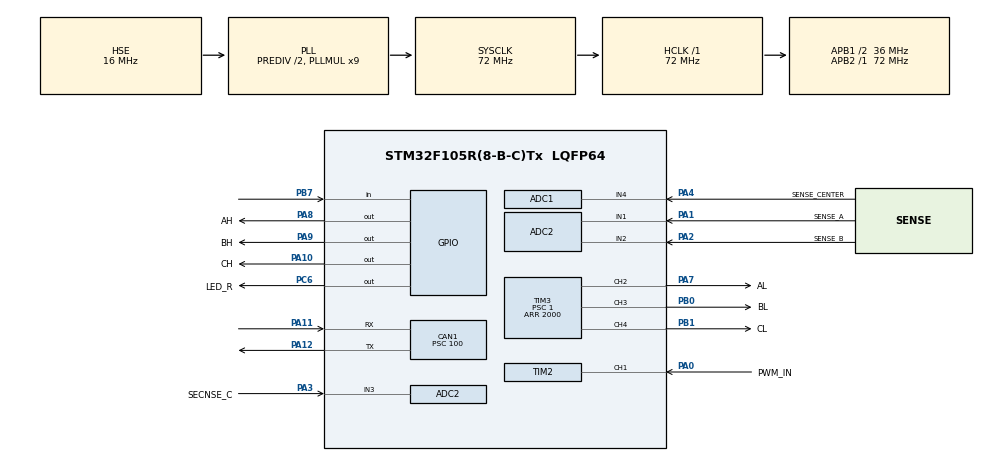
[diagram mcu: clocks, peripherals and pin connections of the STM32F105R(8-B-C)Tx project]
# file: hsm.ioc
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ADC1.Channel-11\#ChannelRegularConversion=ADC_CHANNEL_4
ADC1.ContinuousConvMode=ENABLE
ADC1.NbrOfConversion=1
ADC1.NbrOfConversionFlag=1
ADC1.Rank-11\#ChannelRegularConversion=1
ADC1.SamplingTime-11\#ChannelRegularConversion=ADC_SAMPLETIME_1CYCLE_5
ADC1.master=1
ADC2.Channel-5\#ChannelRegularConversion=ADC_CHANNEL_1
ADC2.NbrOfConversionFlag=1
ADC2.Rank-5\#ChannelRegularConversion=1
ADC2.SamplingTime-5\#ChannelRegularConversion=ADC_SAMPLETIME_1CYCLE_5
CAN1.BS1=CAN_BS1_6TQ
CAN1.BS2=CAN_BS2_8TQ
CAN1.CalculateTimeBit=41666
CAN1.CalculateTimeQuantum=2777.777777777778
CAN1.Mode=CAN_MODE_NORMAL
CAN1.Prescaler=100
Mcu.Family=STM32F1
Mcu.Name=STM32F105R(8-B-C)Tx
Mcu.Package=LQFP64
NVIC.CAN1_RX0_IRQn=true\:0\:0\:false\:false\:true
NVIC.CAN1_RX1_IRQn=true\:0\:0\:false\:false\:true
NVIC.CAN1_SCE_IRQn=true\:0\:0\:false\:false\:true
NVIC.CAN1_TX_IRQn=true\:0\:0\:false\:false\:true
NVIC.PriorityGroup=NVIC_PRIORITYGROUP_4
NVIC.TIM4_IRQn=true\:0\:0\:false\:false\:true
PA0-WKUP.GPIO_Label=PWM_IN
PA0-WKUP.Signal=S_TIM2_CH1_ETR
PA1.GPIO_Label=SENSE_A
PA1.Signal=ADCx_IN1
PA10.GPIO_Label=CH
PA10.GPIO_Speed=GPIO_SPEED_FREQ_HIGH
PA10.Signal=GPIO_Output
PA11.Mode=Master
PA11.Signal=CAN1_RX
PA12.Mode=Master
PA12.Signal=CAN1_TX
PA13.Mode=Serial_Wire
PA13.Signal=SYS_JTMS-SWDIO
PA14.Mode=Serial_Wire
PA14.Signal=SYS_JTCK-SWCLK
PA2.GPIO_Label=SENSE_B
PA2.Signal=ADCx_IN2
PA3.GPIO_Label=SECNSE_C
PA3.Signal=ADCx_IN3
PA4.GPIO_Label=SENSE_CENTER
PA4.Signal=ADCx_IN4
PA7.GPIO_Label=AL
PA7.Signal=S_TIM3_CH2
PA8.GPIO_Label=AH
PA8.GPIO_Speed=GPIO_SPEED_FREQ_HIGH
PA8.Signal=GPIO_Output
PA9.GPIO_Label=BH
PA9.GPIO_Speed=GPIO_SPEED_FREQ_HIGH
PA9.Signal=GPIO_Output
PB0.GPIO_Label=BL
PB0.Signal=S_TIM3_CH3
PB1.GPIO_Label=CL
PB1.Signal=S_TIM3_CH4
PB7.GPIO_PuPd=GPIO_PULLDOWN
PB7.Signal=GPIO_Input
PC6.GPIO_Label=LED_R
PC6.GPIO_Speed=GPIO_SPEED_FREQ_HIGH
PC6.PinState=GPIO_PIN_SET
PC6.Signal=GPIO_Output
PD0-OSC_IN.Mode=HSE-External-Oscillator
PD0-OSC_IN.Signal=RCC_OSC_IN
PD1-OSC_OUT.Mode=HSE-External-Oscillator
PD1-OSC_OUT.Signal=RCC_OSC_OUT
ProjectManager.HeapSize=0x200
ProjectManager.StackSize=0x400
ProjectManager.TargetToolchain=TrueSTUDIO
RCC.ADCPresc=RCC_ADCPCLK2_DIV6
RCC.AHBFreq_Value=72000000
RCC.APB1CLKDivider=RCC_HCLK_DIV2
RCC.APB1Freq_Value=36000000
RCC.APB1TimFreq_Value=72000000
RCC.APB2Freq_Value=72000000
RCC.APB2TimFreq_Value=72000000
RCC.HCLKFreq_Value=72000000
RCC.HSEDivPLL=RCC_HSE_PREDIV_DIV2
RCC.HSE_VALUE=16000000
RCC.HSIState=RCC_HSI_ON
RCC.PLLMUL=RCC_PLL_MUL9
RCC.PLLSourceVirtual=RCC_PLLSOURCE_HSE
RCC.SYSCLKFreq_VALUE=72000000
RCC.SYSCLKSource=RCC_SYSCLKSOURCE_PLLCLK
RCC.USBFreq_Value=48000000
RCC.VDD_VALUE=3.3
SH.ADCx_IN1.0=ADC2_IN1,IN1
SH.ADCx_IN2.0=ADC2_IN2,IN2
SH.ADCx_IN3.0=ADC2_IN3,IN3
SH.ADCx_IN4.0=ADC1_IN4,IN4
SH.S_TIM2_CH1_ETR.0=TIM2_CH1,Input_Capture1_from_TI1
SH.S_TIM2_CH1_ETR.1=TIM2_CH1,Input_Capture2_from_TI1
SH.S_TIM3_CH2.0=TIM3_CH2,PWM Generation2 CH2
SH.S_TIM3_CH3.0=TIM3_CH3,PWM Generation3 CH3
SH.S_TIM3_CH4.0=TIM3_CH4,PWM Generation4 CH4
TIM2.Channel-Input_Capture2_from_TI1=TIM_CHANNEL_2
TIM2.ICPolarity_CH2=TIM_INPUTCHANNELPOLARITY_FALLING
TIM2.Period=40000
TIM2.Prescaler=36
TIM3.Channel-PWM\ Generation2\ CH2=TIM_CHANNEL_2
TIM3.Channel-PWM\ Generation3\ CH3=TIM_CHANNEL_3
TIM3.Channel-PWM\ Generation4\ CH4=TIM_CHANNEL_4
TIM3.OCMode_PWM-PWM\ Generation4\ CH4=TIM_OCMODE_PWM1
TIM3.Period=2000
TIM3.Prescaler=1
TIM3.Pulse-Output\ Compare1\ No\ Output=500
TIM3.Pulse-PWM\ Generation2\ CH2=200
TIM3.Pulse-PWM\ Generation3\ CH3=200
TIM3.Pulse-PWM\ Generation4\ CH4=200
TIM4.Period=20000
TIM4.Prescaler=16
VP_TIM2_VS_ClockSourceINT.Mode=Internal
VP_TIM3_VS_ClockSourceINT.Mode=Internal
VP_TIM3_VS_no_output1.Mode=Output Compare1 No Output
VP_TIM4_VS_ClockSourceINT.Mode=Internal
board=hsm

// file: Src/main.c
/**
  ******************************************************************************
  * File Name          : main.c
  * Description        : Main program body
  ******************************************************************************
  *
  * COPYRIGHT(c) 2017 STMicroelectronics
  *
  * Redistribution and use in source and binary forms, with or without modification,
  * are permitted provided that the following conditions are met:
  *   1. Redistributions of source code must retain the above copyright notice,
  *      this list of conditions and the following disclaimer.
  *   2. Redistributions in binary form must reproduce the above copyright notice,
  *      this list of conditions and the following disclaimer in the documentation
  *      and/or other materials provided with the distribution.
  *   3. Neither the name of STMicroelectronics nor the names of its contributors
  *      may be used to endorse or promote products derived from this software
  *      without specific prior written permission.
  *
  * THIS SOFTWARE IS PROVIDED BY THE COPYRIGHT HOLDERS AND CONTRIBUTORS "AS IS"
  * AND ANY EXPRESS OR IMPLIED WARRANTIES, INCLUDING, BUT NOT LIMITED TO, THE
  * IMPLIED WARRANTIES OF MERCHANTABILITY AND FITNESS FOR A PARTICULAR PURPOSE ARE
  * DISCLAIMED. IN NO EVENT SHALL THE COPYRIGHT HOLDER OR CONTRIBUTORS BE LIABLE
  * FOR ANY DIRECT, INDIRECT, INCIDENTAL, SPECIAL, EXEMPLARY, OR CONSEQUENTIAL
  * DAMAGES (INCLUDING, BUT NOT LIMITED TO, PROCUREMENT OF SUBSTITUTE GOODS OR
  * SERVICES; LOSS OF USE, DATA, OR PROFITS; OR BUSINESS INTERRUPTION) HOWEVER
  * CAUSED AND ON ANY THEORY OF LIABILITY, WHETHER IN CONTRACT, STRICT LIABILITY,
  * OR TORT (INCLUDING NEGLIGENCE OR OTHERWISE) ARISING IN ANY WAY OUT OF THE USE
  * OF THIS SOFTWARE, EVEN IF ADVISED OF THE POSSIBILITY OF SUCH DAMAGE.
  *
  ******************************************************************************
  */
#include "main.h"
#include "stm32f1xx_hal.h"

ADC_HandleTypeDef hadc1;
ADC_HandleTypeDef hadc2;

CAN_HandleTypeDef hcan1;

TIM_HandleTypeDef htim2;
TIM_HandleTypeDef htim3;
TIM_HandleTypeDef htim4;

/* USER CODE BEGIN PV */
/* Private variables ---------------------------------------------------------*/

CAN_FilterConfTypeDef  sFilterConfig;

uint32_t a =0;
uint32_t b =0;
uint32_t c=0;

typedef struct{
float pwm;
float smooth;
float COUNT_TO_MKS;
long en;
}PWM_IN_Struct;
PWM_IN_Struct pwm_in;

float time=0;
float dt=0;
float f=2;
float f_inv = 0;
float f_inv_old=0;
#define POLES 11.0
#define STATES 6.0
int phase = 0;
int count = 0;
int ch = 3;

uint32_t analog;
float fpot=0;
uint32_t t0=0;
uint32_t n=0;
float fn0=0;//initial neutral
float fn=0;//neutral
float fadc=0;//phase value
uint32_t adc = 0;
float adc0=0;
uint32_t adc2 = 0;
uint32_t sm_adc = 0;
int ncount = 0;
ADC_ChannelConfTypeDef adc1ch[6];

uint32_t t4old = 0;
typedef struct{

	uint32_t adc;
	uint32_t neutral;
	uint32_t pot;
	uint32_t u_cur;

	float fpot;
	float current0;
	float current;

}ADC_Struct;
ADC_Struct ADC;

typedef struct{

 unsigned char RW;
 unsigned char Reg_Adress;
 unsigned char Data;
 unsigned char OK;

 unsigned char WHO_AM_I;

 unsigned char OUTX_L_XL;
 unsigned char OUTX_H_XL;
 unsigned char OUTY_L_XL;
 unsigned char OUTY_H_XL;
 unsigned char OUTZ_L_XL;
 unsigned char OUTZ_H_XL;

 short ax;
 short ay;
 short az;

}SPI_Struct;

SPI_Struct ACC;

typedef struct{

 uint8_t data[200];
 int count;
 char lock;

}TX_Struct;

TX_Struct TXBuf;
/* USER CODE END PV */

void SystemClock_Config(void);
void Error_Handler(void);
static void MX_GPIO_Init(void);
static void MX_TIM2_Init(void);
static void MX_TIM3_Init(void);
static void MX_TIM4_Init(void);
static void MX_ADC1_Init(void);
static void MX_ADC2_Init(void);
static void MX_CAN1_Init(void);

void HAL_TIM_MspPostInit(TIM_HandleTypeDef *htim);

/* USER CODE BEGIN PFP */
void init(void);
void PlaySound(float f_,int delay);

//ADC
void StartAnalogADC1( int ch );
int GetAnalogADC1( void );
void StartAnalogADC2( int ch );
int GetAnalogADC2( void );
int ReadAnalogADC1( int ch );
int ReadAnalogADC2( int ch );

//output control
void ResetControlLOW(void);
void ResetControlHIGH(void);
void SetControlHIGH(GPIO_PinState ah,GPIO_PinState al,GPIO_PinState bh,GPIO_PinState bl,GPIO_PinState ch,GPIO_PinState cl);
void SetControlLOW(GPIO_PinState ah,GPIO_PinState al,GPIO_PinState bh,GPIO_PinState bl,GPIO_PinState ch,GPIO_PinState cl);

void Accelerometer(unsigned char rw, unsigned char reg, unsigned char data_);
void UpdateFrequency(void);
void ResetControl(void);
void SetControl(GPIO_PinState ah,GPIO_PinState al,GPIO_PinState bh,GPIO_PinState bl,GPIO_PinState ch,GPIO_PinState cl);

/* Private function prototypes -----------------------------------------------*/

/* USER CODE END PFP */

/* USER CODE BEGIN 0 */
void HAL_TIM_PeriodElapsedCallback(TIM_HandleTypeDef *htim)
{
	/*if (htim->Instance==TIM3) //check if the interrupt comes from TIM3
	{
		switch(phase){
						case 0:SetControlLOW(0,0,1,0,0,1);break;
						case 1:SetControlLOW(0,1,1,0,0,0);break;
						case 2:SetControlLOW(0,1,0,0,1,0);break;
						case 3:SetControlLOW(0,0,0,1,1,0);break;
						case 4:SetControlLOW(1,0,0,1,0,0);break;
						case 5:SetControlLOW(1,0,0,0,0,1);break;
		}
	}*/
	if (htim->Instance==TIM4) //check if the interrupt comes from TIM3
	{
		count=-1;
		phase++;
		if(phase>=6)
			phase=0;
		switch(phase){
									case 0:SetControlHIGH(0,0,1,0,0,1);ch=2;break;
									case 1:SetControlHIGH(0,1,1,0,0,0);ch=1;break;
									case 2:SetControlHIGH(0,1,0,0,1,0);ch=0;break;
									case 3:SetControlHIGH(0,0,0,1,1,0);ch=2;break;
									case 4:SetControlHIGH(1,0,0,1,0,0);ch=1;break;
									case 5:SetControlHIGH(1,0,0,0,0,1);ch=0;break;
		}
		StartAnalogADC2(ch);
		count=0;
	}
}
/*void HAL_TIM_OC_DelayElapsedCallback(TIM_HandleTypeDef *htim){

	if (htim->Instance==TIM3) //check if the interrupt comes from TIM3
	{
		if(htim->Channel==HAL_TIM_ACTIVE_CHANNEL_1){
			ResetControlLOW();
		}
	}

}*/
void HAL_CAN_RxCpltCallback(CAN_HandleTypeDef *hcan1)
{
  if ((hcan1->pRxMsg->StdId == 0x321) && (hcan1->pRxMsg->IDE == CAN_ID_STD) && (hcan1->pRxMsg->DLC == 2))
  {
	  HAL_GPIO_TogglePin(LED_R_GPIO_Port, LED_R_Pin);
	  //LED_Display(CanHandle->pRxMsg->Data[0]);
    //ubKeyNumber = CanHandle->pRxMsg->Data[0];
  }

  /* Receive */
  if (HAL_CAN_Receive_IT(hcan1, CAN_FIFO0) != HAL_OK)
  {
    Error_Handler();
  }
}
/* USER CODE END 0 */

int main(void)
{

  /* MCU Configuration----------------------------------------------------------*/

  /* Reset of all peripherals, Initializes the Flash interface and the Systick. */
  HAL_Init();

  /* Configure the system clock */
  SystemClock_Config();

  /* Initialize all configured peripherals */
  MX_GPIO_Init();
  MX_TIM2_Init();
  MX_TIM3_Init();
  MX_TIM4_Init();
  MX_ADC1_Init();
  MX_ADC2_Init();
  MX_CAN1_Init();

  /* USER CODE BEGIN 2 */

  /*  static CanTxMsgTypeDef        TxMessage;
    static CanRxMsgTypeDef        RxMessage;

    hcan1.pTxMsg = &TxMessage;
    hcan1.pRxMsg = &RxMessage;

    //##-2- Configure the CAN Filter ###########################################
      sFilterConfig.FilterNumber = 0;
      sFilterConfig.FilterMode = CAN_FILTERMODE_IDMASK;
      sFilterConfig.FilterScale = CAN_FILTERSCALE_32BIT;
      sFilterConfig.FilterIdHigh = 0x0000;
      sFilterConfig.FilterIdLow = 0x0000;
      sFilterConfig.FilterMaskIdHigh = 0x0000;
      sFilterConfig.FilterMaskIdLow = 0x0000;
      sFilterConfig.FilterFIFOAssignment = 0;
      sFilterConfig.FilterActivation = ENABLE;
      sFilterConfig.BankNumber = 14;

      if (HAL_CAN_ConfigFilter(&hcan1, &sFilterConfig) != HAL_OK)
      {
        Error_Handler();
      }

      //##-3- Configure Transmission process #####################################
      hcan1.pTxMsg->StdId = 0x321;
      hcan1.pTxMsg->ExtId = 0x01;
      hcan1.pTxMsg->RTR = CAN_RTR_DATA;
      hcan1.pTxMsg->IDE = CAN_ID_STD;
      hcan1.pTxMsg->DLC = 2;

      if (HAL_CAN_Receive_IT(&hcan1, CAN_FIFO0) != HAL_OK)
        {
          Error_Handler();
        }*/

  init();

  f=1.1;
  f_inv =  1/(f*POLES*STATES);
  TIM4->ARR = (uint32_t)round(1280000.0*f_inv);
  //TIM3->CCR1 = 350;
  TIM3->CCR2 = TIM3->CCR3 = TIM3->CCR4 = 600;
  HAL_Delay(100);

  pwm_in.smooth = 0;
  /* USER CODE END 2 */

  /* Infinite loop */
  while(1){}
  while (1)
  {

  /* USER CODE BEGIN 3 */
	 // HAL_GPIO_TogglePin(LED_R_GPIO_Port, LED_R_Pin);
	 // hcan1.pTxMsg->Data[0] = 1;
	 // hcan1.pTxMsg->Data[1] = 2;

      /*##-3- Start the Transmission process ###############################*/
	  /*if (HAL_CAN_Receive_IT(&hcan1, CAN_FIFO0) != HAL_OK)
	    {
	      Error_Handler();
	    }*/

	  //HAL_CAN_Transmit(&hcan1, 50);
      //HAL_Delay(200);

	  uint32_t cnt = TIM4->CNT;
	  if(count>=0){
	 	 	count++;
	 	 	StartAnalogADC2(ch);
	 }
	  adc = GetAnalogADC2();
	  fadc = (float)adc;
	  if(count>=0 && fabs(f_inv_old - f_inv)<0.01 ){
	  	if( phase==0 || phase==2 || phase==4 )
	  		if(fadc<fn && cnt>0 ){
	  			f_inv = (f_inv*999.0+((float)(cnt))*1.4/1280000.0)/1000.0;
	  			TIM4->ARR = (uint32_t)round(1280000.0*f_inv);
	  			count=-1;
	  		}
	  	if( phase==1 || phase==3 || phase==5 )
	  		if(fadc>fn  && cnt>0 ){
	  			f_inv = (f_inv*999.0+((float)(cnt))*1.4/1280000.0)/1000.0;
	  			TIM4->ARR = (uint32_t)round(1280000.0*f_inv);
	  			count=-1;
	  		}
	  }
	  f_inv_old = f_inv;
	  //n  = ReadAnalogADC1(ch);//neutral
	  fn = ((float)HAL_ADC_GetValue(&hadc1) +fn*799.0)/800.0;

	  a = TIM2->CCR1;
	  b = TIM2->CCR2;
	  c= 0;//( TIM2->CCR2 - TIM2->CCR1 )/2;
	  if(b>a){
		  c=b-a;
	  }else{
		//  c=TIM2->ARR+b-a;
	  }
	  pwm_in.pwm = ((float)c)*pwm_in.COUNT_TO_MKS;
	  if(pwm_in.pwm<700 )
		 pwm_in.pwm=0;
	 if(pwm_in.pwm>2300)
		 pwm_in.pwm=2300;

	  if(pwm_in.pwm<700)
		  pwm_in.en=0;
	  else
		  pwm_in.en++;

	  if(pwm_in.pwm>=700)
		  pwm_in.smooth = (pwm_in.pwm + pwm_in.smooth*999.0)/1000.0;
	  if(pwm_in.en>100){
		  //HAL_GPIO_WritePin(LED_R_GPIO_Port, LED_R_Pin, GPIO_PIN_SET);
		  uint32_t c = 250 + round((pwm_in.smooth-700)/2);
		  if(c>1200)
			  c=1200;
		  TIM3->CCR2 = TIM3->CCR3 = TIM3->CCR4 = c;
	  }else{
		  //HAL_GPIO_WritePin(LED_R_GPIO_Port, LED_R_Pin, GPIO_PIN_RESET);

		  /*f=1.1;
		  f_inv =  1/(f*POLES*STATES);
		  TIM4->ARR = (uint32_t)round(1280000.0*f_inv);
		  TIM3->CCR2 = TIM3->CCR3 = TIM3->CCR4 = 250;*/
		  //HAL_Delay(100);
	  }
  }
  /* USER CODE END 3 */

}

/** System Clock Configuration
*/
void SystemClock_Config(void)
{

  RCC_OscInitTypeDef RCC_OscInitStruct;
  RCC_ClkInitTypeDef RCC_ClkInitStruct;
  RCC_PeriphCLKInitTypeDef PeriphClkInit;

    /**Initializes the CPU, AHB and APB busses clocks
    */
  RCC_OscInitStruct.OscillatorType = RCC_OSCILLATORTYPE_HSE;
  RCC_OscInitStruct.HSEState = RCC_HSE_ON;
  RCC_OscInitStruct.HSEPredivValue = RCC_HSE_PREDIV_DIV2;
  RCC_OscInitStruct.HSIState = RCC_HSI_ON;
  RCC_OscInitStruct.Prediv1Source = RCC_PREDIV1_SOURCE_HSE;
  RCC_OscInitStruct.PLL.PLLState = RCC_PLL_ON;
  RCC_OscInitStruct.PLL.PLLSource = RCC_PLLSOURCE_HSE;
  RCC_OscInitStruct.PLL.PLLMUL = RCC_PLL_MUL9;
  RCC_OscInitStruct.PLL2.PLL2State = RCC_PLL_NONE;
  if (HAL_RCC_OscConfig(&RCC_OscInitStruct) != HAL_OK)
  {
    Error_Handler();
  }

    /**Initializes the CPU, AHB and APB busses clocks
    */
  RCC_ClkInitStruct.ClockType = RCC_CLOCKTYPE_HCLK|RCC_CLOCKTYPE_SYSCLK
                              |RCC_CLOCKTYPE_PCLK1|RCC_CLOCKTYPE_PCLK2;
  RCC_ClkInitStruct.SYSCLKSource = RCC_SYSCLKSOURCE_PLLCLK;
  RCC_ClkInitStruct.AHBCLKDivider = RCC_SYSCLK_DIV1;
  RCC_ClkInitStruct.APB1CLKDivider = RCC_HCLK_DIV2;
  RCC_ClkInitStruct.APB2CLKDivider = RCC_HCLK_DIV1;

  if (HAL_RCC_ClockConfig(&RCC_ClkInitStruct, FLASH_LATENCY_2) != HAL_OK)
  {
    Error_Handler();
  }

  PeriphClkInit.PeriphClockSelection = RCC_PERIPHCLK_ADC;
  PeriphClkInit.AdcClockSelection = RCC_ADCPCLK2_DIV6;
  if (HAL_RCCEx_PeriphCLKConfig(&PeriphClkInit) != HAL_OK)
  {
    Error_Handler();
  }

    /**Configure the Systick interrupt time
    */
  HAL_SYSTICK_Config(HAL_RCC_GetHCLKFreq()/1000);

    /**Configure the Systick
    */
  HAL_SYSTICK_CLKSourceConfig(SYSTICK_CLKSOURCE_HCLK);

    /**Configure the Systick interrupt time
    */
  __HAL_RCC_PLLI2S_ENABLE();

  /* SysTick_IRQn interrupt configuration */
  HAL_NVIC_SetPriority(SysTick_IRQn, 0, 0);
}

/* ADC1 init function */
static void MX_ADC1_Init(void)
{

  ADC_ChannelConfTypeDef sConfig;

    /**Common config
    */
  hadc1.Instance = ADC1;
  hadc1.Init.ScanConvMode = ADC_SCAN_DISABLE;
  hadc1.Init.ContinuousConvMode = ENABLE;
  hadc1.Init.DiscontinuousConvMode = DISABLE;
  hadc1.Init.ExternalTrigConv = ADC_SOFTWARE_START;
  hadc1.Init.DataAlign = ADC_DATAALIGN_RIGHT;
  hadc1.Init.NbrOfConversion = 1;
  if (HAL_ADC_Init(&hadc1) != HAL_OK)
  {
    Error_Handler();
  }

    /**Configure Regular Channel
    */
  sConfig.Channel = ADC_CHANNEL_4;
  sConfig.Rank = 1;
  sConfig.SamplingTime = ADC_SAMPLETIME_1CYCLE_5;
  if (HAL_ADC_ConfigChannel(&hadc1, &sConfig) != HAL_OK)
  {
    Error_Handler();
  }

}

/* ADC2 init function */
static void MX_ADC2_Init(void)
{

  ADC_ChannelConfTypeDef sConfig;

    /**Common config
    */
  hadc2.Instance = ADC2;
  hadc2.Init.ScanConvMode = ADC_SCAN_DISABLE;
  hadc2.Init.ContinuousConvMode = DISABLE;
  hadc2.Init.DiscontinuousConvMode = DISABLE;
  hadc2.Init.ExternalTrigConv = ADC_SOFTWARE_START;
  hadc2.Init.DataAlign = ADC_DATAALIGN_RIGHT;
  hadc2.Init.NbrOfConversion = 1;
  if (HAL_ADC_Init(&hadc2) != HAL_OK)
  {
    Error_Handler();
  }

    /**Configure Regular Channel
    */
  sConfig.Channel = ADC_CHANNEL_1;
  sConfig.Rank = 1;
  sConfig.SamplingTime = ADC_SAMPLETIME_1CYCLE_5;
  if (HAL_ADC_ConfigChannel(&hadc2, &sConfig) != HAL_OK)
  {
    Error_Handler();
  }

}

/* CAN1 init function */
static void MX_CAN1_Init(void)
{

  hcan1.Instance = CAN1;
  hcan1.Init.Prescaler = 100;
  hcan1.Init.Mode = CAN_MODE_NORMAL;
  hcan1.Init.SJW = CAN_SJW_1TQ;
  hcan1.Init.BS1 = CAN_BS1_6TQ;
  hcan1.Init.BS2 = CAN_BS2_8TQ;
  hcan1.Init.TTCM = DISABLE;
  hcan1.Init.ABOM = DISABLE;
  hcan1.Init.AWUM = DISABLE;
  hcan1.Init.NART = DISABLE;
  hcan1.Init.RFLM = DISABLE;
  hcan1.Init.TXFP = DISABLE;
  if (HAL_CAN_Init(&hcan1) != HAL_OK)
  {
    Error_Handler();
  }

}

/* TIM2 init function */
static void MX_TIM2_Init(void)
{

  TIM_ClockConfigTypeDef sClockSourceConfig;
  TIM_MasterConfigTypeDef sMasterConfig;
  TIM_IC_InitTypeDef sConfigIC;

  htim2.Instance = TIM2;
  htim2.Init.Prescaler = 36;
  htim2.Init.CounterMode = TIM_COUNTERMODE_UP;
  htim2.Init.Period = 40000;
  htim2.Init.ClockDivision = TIM_CLOCKDIVISION_DIV1;
  if (HAL_TIM_Base_Init(&htim2) != HAL_OK)
  {
    Error_Handler();
  }

  sClockSourceConfig.ClockSource = TIM_CLOCKSOURCE_INTERNAL;
  if (HAL_TIM_ConfigClockSource(&htim2, &sClockSourceConfig) != HAL_OK)
  {
    Error_Handler();
  }

  if (HAL_TIM_IC_Init(&htim2) != HAL_OK)
  {
    Error_Handler();
  }

  sMasterConfig.MasterOutputTrigger = TIM_TRGO_RESET;
  sMasterConfig.MasterSlaveMode = TIM_MASTERSLAVEMODE_DISABLE;
  if (HAL_TIMEx_MasterConfigSynchronization(&htim2, &sMasterConfig) != HAL_OK)
  {
    Error_Handler();
  }

  sConfigIC.ICPolarity = TIM_INPUTCHANNELPOLARITY_RISING;
  sConfigIC.ICSelection = TIM_ICSELECTION_DIRECTTI;
  sConfigIC.ICPrescaler = TIM_ICPSC_DIV1;
  sConfigIC.ICFilter = 0;
  if (HAL_TIM_IC_ConfigChannel(&htim2, &sConfigIC, TIM_CHANNEL_1) != HAL_OK)
  {
    Error_Handler();
  }

  sConfigIC.ICPolarity = TIM_INPUTCHANNELPOLARITY_FALLING;
  sConfigIC.ICSelection = TIM_ICSELECTION_INDIRECTTI;
  if (HAL_TIM_IC_ConfigChannel(&htim2, &sConfigIC, TIM_CHANNEL_2) != HAL_OK)
  {
    Error_Handler();
  }

}

/* TIM3 init function */
static void MX_TIM3_Init(void)
{

  TIM_ClockConfigTypeDef sClockSourceConfig;
  TIM_MasterConfigTypeDef sMasterConfig;
  TIM_OC_InitTypeDef sConfigOC;

  htim3.Instance = TIM3;
  htim3.Init.Prescaler = 1;
  htim3.Init.CounterMode = TIM_COUNTERMODE_UP;
  htim3.Init.Period = 2000;
  htim3.Init.ClockDivision = TIM_CLOCKDIVISION_DIV1;
  if (HAL_TIM_Base_Init(&htim3) != HAL_OK)
  {
    Error_Handler();
  }

  sClockSourceConfig.ClockSource = TIM_CLOCKSOURCE_INTERNAL;
  if (HAL_TIM_ConfigClockSource(&htim3, &sClockSourceConfig) != HAL_OK)
  {
    Error_Handler();
  }

  if (HAL_TIM_OC_Init(&htim3) != HAL_OK)
  {
    Error_Handler();
  }

  if (HAL_TIM_PWM_Init(&htim3) != HAL_OK)
  {
    Error_Handler();
  }

  sMasterConfig.MasterOutputTrigger = TIM_TRGO_RESET;
  sMasterConfig.MasterSlaveMode = TIM_MASTERSLAVEMODE_DISABLE;
  if (HAL_TIMEx_MasterConfigSynchronization(&htim3, &sMasterConfig) != HAL_OK)
  {
    Error_Handler();
  }

  sConfigOC.OCMode = TIM_OCMODE_TIMING;
  sConfigOC.Pulse = 500;
  sConfigOC.OCPolarity = TIM_OCPOLARITY_HIGH;
  sConfigOC.OCFastMode = TIM_OCFAST_DISABLE;
  if (HAL_TIM_OC_ConfigChannel(&htim3, &sConfigOC, TIM_CHANNEL_1) != HAL_OK)
  {
    Error_Handler();
  }

  sConfigOC.OCMode = TIM_OCMODE_PWM1;
  sConfigOC.Pulse = 200;
  if (HAL_TIM_PWM_ConfigChannel(&htim3, &sConfigOC, TIM_CHANNEL_2) != HAL_OK)
  {
    Error_Handler();
  }

  if (HAL_TIM_PWM_ConfigChannel(&htim3, &sConfigOC, TIM_CHANNEL_3) != HAL_OK)
  {
    Error_Handler();
  }

  if (HAL_TIM_PWM_ConfigChannel(&htim3, &sConfigOC, TIM_CHANNEL_4) != HAL_OK)
  {
    Error_Handler();
  }

  HAL_TIM_MspPostInit(&htim3);

}

/* TIM4 init function */
static void MX_TIM4_Init(void)
{

  TIM_ClockConfigTypeDef sClockSourceConfig;
  TIM_MasterConfigTypeDef sMasterConfig;

  htim4.Instance = TIM4;
  htim4.Init.Prescaler = 16;
  htim4.Init.CounterMode = TIM_COUNTERMODE_UP;
  htim4.Init.Period = 20000;
  htim4.Init.ClockDivision = TIM_CLOCKDIVISION_DIV1;
  if (HAL_TIM_Base_Init(&htim4) != HAL_OK)
  {
    Error_Handler();
  }

  sClockSourceConfig.ClockSource = TIM_CLOCKSOURCE_INTERNAL;
  if (HAL_TIM_ConfigClockSource(&htim4, &sClockSourceConfig) != HAL_OK)
  {
    Error_Handler();
  }

  sMasterConfig.MasterOutputTrigger = TIM_TRGO_RESET;
  sMasterConfig.MasterSlaveMode = TIM_MASTERSLAVEMODE_DISABLE;
  if (HAL_TIMEx_MasterConfigSynchronization(&htim4, &sMasterConfig) != HAL_OK)
  {
    Error_Handler();
  }

}

/** Configure pins as
        * Analog
        * Input
        * Output
        * EVENT_OUT
        * EXTI
*/
static void MX_GPIO_Init(void)
{

  GPIO_InitTypeDef GPIO_InitStruct;

  /* GPIO Ports Clock Enable */
  __HAL_RCC_GPIOD_CLK_ENABLE();
  __HAL_RCC_GPIOA_CLK_ENABLE();
  __HAL_RCC_GPIOB_CLK_ENABLE();
  __HAL_RCC_GPIOC_CLK_ENABLE();

  /*Configure GPIO pin Output Level */
  HAL_GPIO_WritePin(LED_R_GPIO_Port, LED_R_Pin, GPIO_PIN_SET);

  /*Configure GPIO pin Output Level */
  HAL_GPIO_WritePin(GPIOA, AH_Pin|BH_Pin|CH_Pin, GPIO_PIN_RESET);

  /*Configure GPIO pin : LED_R_Pin */
  GPIO_InitStruct.Pin = LED_R_Pin;
  GPIO_InitStruct.Mode = GPIO_MODE_OUTPUT_PP;
  GPIO_InitStruct.Speed = GPIO_SPEED_FREQ_HIGH;
  HAL_GPIO_Init(LED_R_GPIO_Port, &GPIO_InitStruct);

  /*Configure GPIO pins : AH_Pin BH_Pin CH_Pin */
  GPIO_InitStruct.Pin = AH_Pin|BH_Pin|CH_Pin;
  GPIO_InitStruct.Mode = GPIO_MODE_OUTPUT_PP;
  GPIO_InitStruct.Speed = GPIO_SPEED_FREQ_HIGH;
  HAL_GPIO_Init(GPIOA, &GPIO_InitStruct);

  /*Configure GPIO pin : PB7 */
  GPIO_InitStruct.Pin = GPIO_PIN_7;
  GPIO_InitStruct.Mode = GPIO_MODE_INPUT;
  GPIO_InitStruct.Pull = GPIO_PULLDOWN;
  HAL_GPIO_Init(GPIOB, &GPIO_InitStruct);

}

/* USER CODE BEGIN 4 */
void UpdateFrequency(void){
	HAL_GPIO_WritePin(LED_R_GPIO_Port, LED_R_Pin, GPIO_PIN_RESET);
	  f_inv = (f_inv*39.0+((float)TIM4->CNT)*2.0/12800.0)/40.0;
	  TIM4->ARR = (uint32_t)round(12800.0*f_inv);
	  count=-1;
}
void init(void){

	//timer 2
	//HAL_TIM_Base_MspInit(&htim2);
	HAL_TIM_IC_Start_IT(&htim2,TIM_CHANNEL_1);
	HAL_TIM_IC_Start_IT(&htim2,TIM_CHANNEL_2);
	//HAL_TIM_Base_Start_IT(&htim2);
	//HAL_NVIC_EnableIRQ(TIM2_IRQn);

	pwm_in.COUNT_TO_MKS = ((float)TIM2->PSC)/72.0;
	 // TIMER3 16 khz PWM
	HAL_TIM_PWM_Start(&htim3,TIM_CHANNEL_2);
	HAL_TIM_PWM_Start(&htim3,TIM_CHANNEL_3);
	HAL_TIM_PWM_Start(&htim3,TIM_CHANNEL_4);
	 // HAL_TIM_Base_MspInit(&htim3);
	  //HAL_TIM_OC_Start_IT(&htim3,TIM_CHANNEL_1);
	  //HAL_TIM_OC_Start_IT(&htim3,TIM_CHANNEL_2);
	  //HAL_TIM_Base_Start_IT(&htim3);
	  //HAL_NVIC_EnableIRQ(TIM3_IRQn);

	//  dt = (float)(htim3.Init.Prescaler+1)*(float)(htim3.Init.Period)/64000000.0;
	  //
	 // HAL_TIM_Base_MspInit(&htim4);
	  HAL_TIM_Base_Start_IT(&htim4);
	  //HAL_TIM_IC_Start(&htim4,TIM_CHANNEL_1);
	  HAL_NVIC_EnableIRQ(TIM4_IRQn);

	  adc1ch[0].Channel = ADC_CHANNEL_2;//B
	  adc1ch[0].Rank = 1;
	  adc1ch[0].SamplingTime = ADC_SAMPLETIME_1CYCLE_5;

	  adc1ch[1].Channel = ADC_CHANNEL_3;//C
	  adc1ch[1].Rank = 1;
	  adc1ch[1].SamplingTime = ADC_SAMPLETIME_1CYCLE_5;

	  adc1ch[2].Channel = ADC_CHANNEL_1;//A
	  adc1ch[2].Rank = 1;
	  adc1ch[2].SamplingTime = ADC_SAMPLETIME_1CYCLE_5;

	  adc1ch[3].Channel = ADC_CHANNEL_4;//CNT
	  adc1ch[3].Rank = 1;
	  adc1ch[3].SamplingTime = ADC_SAMPLETIME_1CYCLE_5;

	  adc1ch[4].Channel = ADC_CHANNEL_0;//pot
	  adc1ch[4].Rank = 1;
	  adc1ch[4].SamplingTime = ADC_SAMPLETIME_1CYCLE_5;

	  adc1ch[5].Channel = ADC_CHANNEL_6;//cur
	  adc1ch[5].Rank = 1;
	  adc1ch[5].SamplingTime = ADC_SAMPLETIME_1CYCLE_5;

	  //ADC1
	  //HAL_ADC_MspInit(&hadc1);
	  HAL_ADC_Start(&hadc1);
	  //adc2
	  HAL_ADC_MspInit(&hadc2);
	  //HAL_NVIC_EnableIRQ(ADC1_2_IRQn);

	  //i2c
	  /*HAL_I2C_MspInit(&hi2c1);
	  HAL_NVIC_EnableIRQ(I2C1_EV_IRQn);
	  HAL_NVIC_EnableIRQ(I2C1_ER_IRQn);*/

	  //uart3
	  /*HAL_UART_MspInit(&huart3);

	  //uart2
	  HAL_UART_MspInit(&huart2);

	  //spi2
	  HAL_SPI_MspInit(&hspi2);*/

	  /*PlaySound(100,100);
	  PlaySound(3,100);
	  PlaySound(100,100);
	  PlaySound(3,100);
	  PlaySound(100,100);
	  PlaySound(1,100);*/
}
/*void Accelerometer(unsigned char rw, unsigned char reg, unsigned char data_){
	ACC.RW = rw;
	ACC.Data = data_;
	ACC.Reg_Adress = reg | ACC.RW;

	HAL_GPIO_WritePin(CS_Acc_GPIO_Port, CS_Acc_Pin, GPIO_PIN_RESET);
	HAL_SPI_Transmit(&hspi2,&ACC.Reg_Adress,1,1);
	if(ACC.RW==READ)
		HAL_SPI_Receive(&hspi2,&ACC.Data,1,1);
	else
		HAL_SPI_Transmit(&hspi2,&ACC.Data,1,1);
	HAL_GPIO_WritePin(CS_Acc_GPIO_Port, CS_Acc_Pin, GPIO_PIN_SET);
}*/

void PlaySound(float f_,int delay){
	f=f_;
	f_inv =  1/(f*POLES*STATES);
	TIM4->ARR = (uint32_t)round(12800.0*f_inv);
	TIM3->CCR1 = 250;
	TIM3->CCR2 = 250;
	HAL_Delay(delay);
}

//ADC
void StartAnalogADC1( int ch ){
	HAL_ADC_ConfigChannel(&hadc1, &adc1ch[ch]);
	HAL_ADC_Start(&hadc1);
}
int GetAnalogADC1( void ){
	while( __HAL_ADC_GET_FLAG(&hadc1, ADC_FLAG_EOC)==0 ){}
	return HAL_ADC_GetValue(&hadc1);
}
int ReadAnalogADC1( int ch ){
	HAL_ADC_ConfigChannel(&hadc1, &adc1ch[ch]);//A4 / B
	HAL_ADC_Start(&hadc1);
	while( __HAL_ADC_GET_FLAG(&hadc1, ADC_FLAG_EOC)==0 ){}
	return HAL_ADC_GetValue(&hadc1);
}
void StartAnalogADC2( int ch ){
	HAL_ADC_ConfigChannel(&hadc2, &adc1ch[ch]);
	HAL_ADC_Start(&hadc2);
}
int GetAnalogADC2( void ){
	while( __HAL_ADC_GET_FLAG(&hadc2, ADC_FLAG_EOC)==0 ){}
	return HAL_ADC_GetValue(&hadc2);
	return 1;
}
int ReadAnalogADC2( int ch ){
	HAL_ADC_ConfigChannel(&hadc2, &adc1ch[ch]);
	HAL_ADC_Start(&hadc2);
	while( __HAL_ADC_GET_FLAG(&hadc2, ADC_FLAG_EOC)==0 ){}
	return HAL_ADC_GetValue(&hadc2);
	return 1;
}

void ResetControlLOW(void){
	HAL_GPIO_WritePin(AL_GPIO_Port, AL_Pin, GPIO_PIN_RESET);
	HAL_GPIO_WritePin(BL_GPIO_Port, BL_Pin, GPIO_PIN_RESET);
	HAL_GPIO_WritePin(CL_GPIO_Port, CL_Pin, GPIO_PIN_RESET);
}
void ResetControlHIGH(void){
	HAL_GPIO_WritePin(AH_GPIO_Port, AH_Pin, GPIO_PIN_RESET);
	HAL_GPIO_WritePin(BH_GPIO_Port, BH_Pin, GPIO_PIN_RESET);
	HAL_GPIO_WritePin(CH_GPIO_Port, CH_Pin, GPIO_PIN_RESET);
}
void SetControlHIGH(GPIO_PinState ah,GPIO_PinState al,GPIO_PinState bh,GPIO_PinState bl,GPIO_PinState ch,GPIO_PinState cl){
	HAL_GPIO_WritePin(AH_GPIO_Port, AH_Pin, ah);
	//HAL_GPIO_WritePin(AL_GPIO_Port, AL_Pin, al);
	HAL_GPIO_WritePin(BH_GPIO_Port, BH_Pin, bh);
	//HAL_GPIO_WritePin(BL_GPIO_Port, BL_Pin, bl);
	HAL_GPIO_WritePin(CH_GPIO_Port, CH_Pin, ch);
	//HAL_GPIO_WritePin(CL_GPIO_Port, CL_Pin, cl);

	if(al)HAL_TIM_PWM_Start(&htim3,TIM_CHANNEL_2);else HAL_TIM_PWM_Stop(&htim3,TIM_CHANNEL_2);
	if(bl)HAL_TIM_PWM_Start(&htim3,TIM_CHANNEL_3);else HAL_TIM_PWM_Stop(&htim3,TIM_CHANNEL_3);
	if(cl)HAL_TIM_PWM_Start(&htim3,TIM_CHANNEL_4);else HAL_TIM_PWM_Stop(&htim3,TIM_CHANNEL_4);

}
void SetControlLOW(GPIO_PinState ah,GPIO_PinState al,GPIO_PinState bh,GPIO_PinState bl,GPIO_PinState ch,GPIO_PinState cl){
	//HAL_GPIO_WritePin(AH_GPIO_Port, AH_Pin, ah);
	HAL_GPIO_WritePin(AL_GPIO_Port, AL_Pin, al);
	//HAL_GPIO_WritePin(BH_GPIO_Port, BH_Pin, bh);
	HAL_GPIO_WritePin(BL_GPIO_Port, BL_Pin, bl);
	//HAL_GPIO_WritePin(CH_GPIO_Port, CH_Pin, ch);
	HAL_GPIO_WritePin(CL_GPIO_Port, CL_Pin, cl);
}

/* USER CODE END 4 */

void Error_Handler(void)
{
  while(1)
  {
  }
}

/************************ (C) COPYRIGHT STMicroelectronics *****END OF FILE****/
